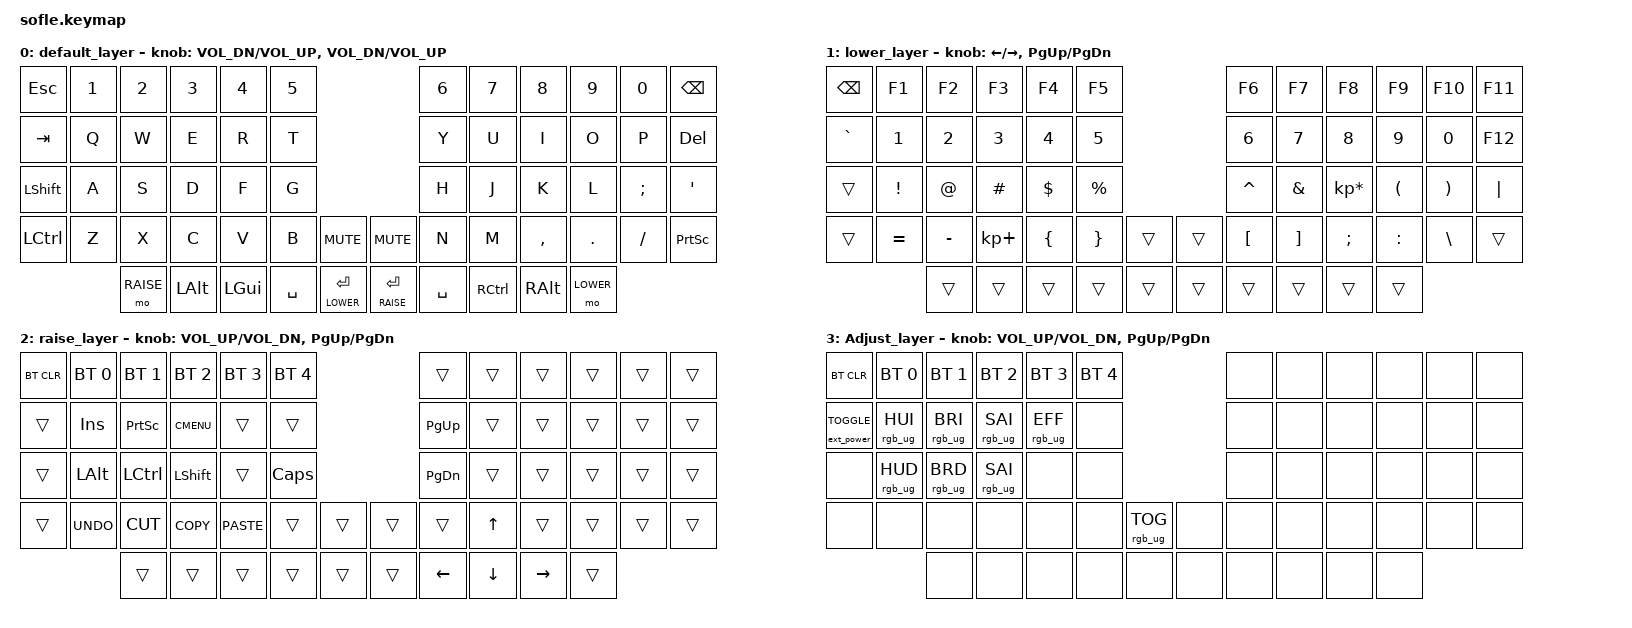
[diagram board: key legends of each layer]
/*
 * Copyright (c) 2020 The ZMK Contributors
 *
 * SPDX-License-Identifier: MIT
 */

#include <behaviors.dtsi>
#include <dt-bindings/zmk/keys.h>
#include <dt-bindings/zmk/bt.h>
#include <dt-bindings/zmk/rgb.h>
#include <dt-bindings/zmk/ext_power.h>

#define BASE 0
#define LOWER 1
#define RAISE 2
#define ADJUST 3

/ {

   // Activate ADJUST layer by pressing raise and lower
    conditional_layers {
        compatible = "zmk,conditional-layers";
        adjust_layer {
            if-layers = <LOWER RAISE>;
            then-layer = <ADJUST>;
        };
    };

    keymap {
        compatible = "zmk,keymap";

        default_layer {
// ------------------------------------------------------------------------------------------------------------
// |  ESC  |  1  |  2  |  3  |  4   |  5   |                  |  6   |  7   |  8  |   9   |   0   | BKSPC |
// |  TAB  |  Q  |  W  |  E  |  R   |  T   |                  |  Y   |  U   |  I  |   O   |   P   |  DEL  |
// | SHIFT |  A  |  S  |  D  |  F   |  G   |                  |  H   |  J   |  K  |   L   |   ;   | SINGLE_QUOTE |
// | CTRL  |  Z  |  X  |  C  |  V   |  B   | MUTE  |  | MUTE  |  N   |  M   |  ,  |   .   |   /   | PRNTSCRN |
//               | RAISE | ALT | LGUI | SPACE | LOWER / ENTER |  | RAISE / ENTER | SPACE | CTRL | ALT | LOWER |
            bindings = <
&kp ESC   &kp N1 &kp N2   &kp N3   &kp N4    &kp N5                      &kp N6 &kp N7    &kp N8    &kp N9   &kp N0   &kp BSPC
&kp TAB   &kp Q  &kp W    &kp E    &kp R     &kp T                       &kp Y  &kp U     &kp I     &kp O    &kp P    &kp DEL
&kp LSHFT &kp A  &kp S    &kp D    &kp F     &kp G                       &kp H  &kp J     &kp K     &kp L    &kp SEMI &kp SQT
&kp LCTRL &kp Z  &kp X    &kp C    &kp V     &kp B  &kp C_MUTE &kp C_MUTE     &kp N  &kp M     &kp COMMA &kp DOT  &kp FSLH &kp PSCRN
                 &mo RAISE &kp LALT &kp LGUI &kp SPACE &lt LOWER RET    &lt RAISE RET &kp SPACE &kp RCTRL &kp RALT  &mo LOWER
            >;

            sensor-bindings = <&inc_dec_kp C_VOL_DN C_VOL_UP &inc_dec_kp C_VOL_DN C_VOL_UP>;
        };

        lower_layer {
// TODO: Some binds are waiting for shifted keycode support.
// ------------------------------------------------------------------------------------------------------------
// | BKSPC |  F1 |  F2 |  F3  |  F4  |  F5  |                   |  F6  |  F7   |  F8   |  F9  |  F10  |  F11  |
// | `     |   1 |   2 |   3  |   4  |   5  |                   |   6  |   7   |   8   |   9  |    0  |  F12  |
// |       |  !  |  @  |  #   |  $   |  %   |                   |  ^   |  &    |  *    |  (   |   )   |   |   |
// |       |  =  |  -  |  +   |  {   |  }   |        |  |       |  [   |  ]    |  ;    |  :   |   \   |       |
//               |     |      |      |      |        |  |       |      |       |       |      |
            bindings = <
&kp BSPC    &kp F1    &kp F2    &kp F3      &kp F4    &kp F5                    &kp F6    &kp F7   &kp F8          &kp F9    &kp F10   &kp F11
&kp GRAVE &kp N1    &kp N2    &kp N3      &kp N4    &kp N5                    &kp N6    &kp N7   &kp N8          &kp N9    &kp N0    &kp F12
&trans    &kp EXCL  &kp AT    &kp HASH    &kp DLLR  &kp PRCNT                 &kp CARET &kp AMPS &kp KP_MULTIPLY &kp LPAR  &kp RPAR  &kp PIPE
&trans    &kp EQUAL &kp MINUS &kp KP_PLUS &kp LBRC  &kp RBRC  &trans   &trans &kp LBKT  &kp RBKT &kp SEMI        &kp COLON &kp BSLH  &trans
                    &trans    &trans      &trans    &trans    &trans   &trans &trans    &trans   &trans          &trans
            >;

            sensor-bindings = <&inc_dec_kp LEFT RIGHT &inc_dec_kp PG_UP PG_DN>;
        };

        raise_layer {
// ------------------------------------------------------------------------------------------------------------
// |BTCLR| BT1  | BT2  |  BT3  |  BT4  |  BT5 |                |      |      |      |     |     |     |
// |     | INS  | PSCR | GUI   |       |      |                | PGUP |      |      |     |     |     |
// |     | ALT  | CTRL | SHIFT |       | CAPS |                | PGDN |      |      |     |     |     |
// |     | UNDO | CUT  | COPY  | PASTE |      |      |  |      |      |  ^   |      |     |     |     |
//              |      |       |       |      |      |  |      |  <-  |  v   |  ->  |     |
            bindings = <
&bt BT_CLR &bt BT_SEL 0 &bt BT_SEL 1 &bt BT_SEL 2 &bt BT_SEL 3 &bt BT_SEL 4             &trans    &trans    &trans   &trans   &trans  &trans
&trans     &kp INS      &kp PSCRN    &kp K_CMENU  &trans       &trans                   &kp PG_UP &trans    &trans   &trans   &trans  &trans
&trans     &kp LALT     &kp LCTRL    &kp LSHFT    &trans       &kp CLCK                 &kp PG_DN &trans    &trans   &trans   &trans  &trans
&trans     &kp K_UNDO   &kp K_CUT    &kp K_COPY   &kp K_PASTE  &trans  &trans   &trans  &trans    &kp UP    &trans   &trans   &trans  &trans
                        &trans       &trans       &trans       &trans  &trans   &trans  &kp LEFT  &kp DOWN  &kp RIGHT  &trans
            >;

            sensor-bindings = <&inc_dec_kp C_VOL_UP C_VOL_DN &inc_dec_kp PG_UP PG_DN>;
        };

// ------------------------------------------------------------------------------------------------------------
// |BTCLR | BT1   | BT2   |  BT3  |  BT4  |  BT5  |                |      |      |       |      |       |       |
// |EXTPWR|RGB_HUI|RGB_BRI|RGB_SAI|RGB_EFF|       |                |      |      |       |      |       |       |
// |      |RGB_HUD|RGB_BRD|RGB_SAD|       |       |                |      |      |       |      |       |       |
// |      |       |       |       |       |       |RGB_TOG| |      |      |      |       |      |       |       |
//                |       |       |       |       |       | |      |      |      |       |      |

        Adjust_layer {
        bindings = <
&bt BT_CLR                      &bt BT_SEL 0    &bt BT_SEL 1    &bt BT_SEL 2    &bt BT_SEL 3     &bt BT_SEL 4                               &none &none &none &none &none &none
&ext_power EXT_POWER_TOGGLE_CMD &rgb_ug RGB_HUI &rgb_ug RGB_BRI &rgb_ug RGB_SAI &rgb_ug RGB_EFF  &none                                      &none &none &none &none &none &none
&none                           &rgb_ug RGB_HUD &rgb_ug RGB_BRD &rgb_ug RGB_SAI &none            &none                                      &none &none &none &none &none &none
&none                           &none           &none           &none           &none            &none          &rgb_ug RGB_TOG  &none      &none &none &none &none &none &none
                                                &none           &none           &none            &none          &none            &none      &none &none &none &none
            >;
            
            sensor-bindings = <&inc_dec_kp C_VOL_UP C_VOL_DN &inc_dec_kp PG_UP PG_DN>;
            
        };

    };
};
